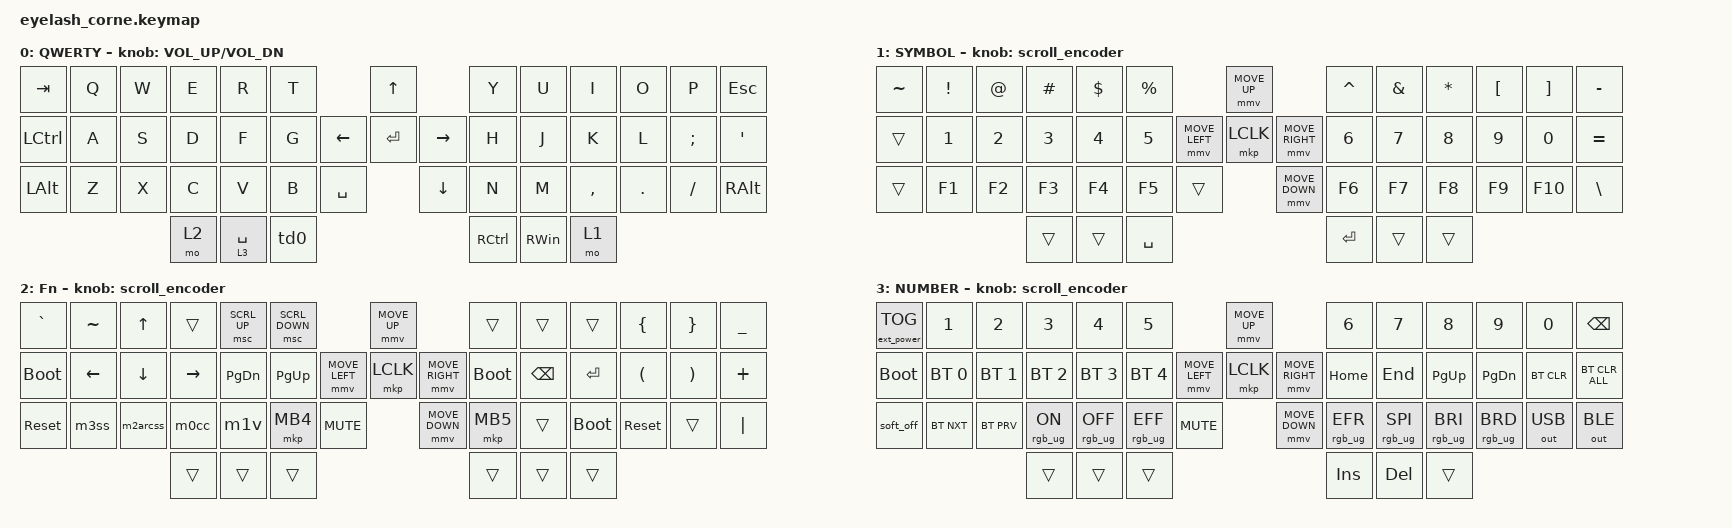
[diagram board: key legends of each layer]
#define ZMK_POINTING_DEFAULT_MOVE_VAL 1200  // 600
#define ZMK_POINTING_DEFAULT_SCRL_VAL 25   // 10

#include <input/processors.dtsi>
#include <zephyr/dt-bindings/input/input-event-codes.h>
#include <behaviors.dtsi>
#include <dt-bindings/zmk/bt.h>
#include <dt-bindings/zmk/ext_power.h>
#include <dt-bindings/zmk/keys.h>
#include <dt-bindings/zmk/outputs.h>
#include <dt-bindings/zmk/pointing.h>
#include <dt-bindings/zmk/rgb.h>

&mmv_input_listener { input-processors = <&zip_xy_scaler 2 1>; };

&msc_input_listener { input-processors = <&zip_scroll_scaler 2 1>; };

&msc {
    acceleration-exponent = <1>;      // 0
    time-to-max-speed-ms = <100>;       // 300
    delay-ms = <0>;                   // 0
};

&mmv {
    time-to-max-speed-ms = <500>;
    acceleration-exponent = <1>;
    trigger-period-ms = <16>;
};

&soft_off { hold-time-ms = <2000>; };

/ {
    behaviors {
        td0: td0 {
            compatible = "zmk,behavior-tap-dance";
            display-name = "Shift/Caps Lock Tap Dance";
            #binding-cells = <0>;
            bindings = <&kp LEFT_SHIFT>, <&kp CAPS>;
        };
    };

    rgb_encoder: rgb_encoder {
        compatible = "zmk,behavior-sensor-rotate";
        #sensor-binding-cells = <0>;
        bindings = <&rgb_ug RGB_BRI>, <&rgb_ug RGB_BRD>;
    };

    scroll_encoder: scroll_encoder {
        compatible = "zmk,behavior-sensor-rotate";
        #sensor-binding-cells = <0>;
        bindings = <&msc SCRL_DOWN>, <&msc SCRL_UP>;

        tap-ms = <100>;
    };

    combos {
        compatible = "zmk,combos";

        softoff {
            bindings = <&soft_off>;
            key-positions = <1 29 15 15>;
        };
    };

    macros {
        m0cc: m0cc {
            compatible = "zmk,behavior-macro";
            #binding-cells = <0>;
            bindings =
                <&macro_press>,
                <&kp RIGHT_COMMAND>,
                <&macro_tap>,
                <&kp C>,
                <&macro_release>,
                <&kp RIGHT_WIN>;

            label = "M0CC";
        };

        m1v: m1v {
            compatible = "zmk,behavior-macro";
            #binding-cells = <0>;
            bindings =
                <&macro_press>,
                <&kp LEFT_COMMAND>,
                <&macro_tap>,
                <&kp V>,
                <&macro_release>,
                <&kp LEFT_COMMAND>;

            label = "M1V";
        };

        m2arcss: m2arcss {
            compatible = "zmk,behavior-macro";
            #binding-cells = <0>;
            bindings =
                <&macro_press>,
                <&kp RIGHT_WIN &kp LEFT_SHIFT>,
                <&macro_tap>,
                <&kp NUMBER_2>,
                <&macro_release>,
                <&kp RIGHT_WIN &kp LEFT_SHIFT>;

            label = "M2ARCSS";
        };

        m3ss: m3ss {
            compatible = "zmk,behavior-macro";
            #binding-cells = <0>;
            bindings =
                <&macro_press>,
                <&kp LEFT_SHIFT &kp RIGHT_COMMAND>,
                <&macro_tap>,
                <&kp KP_NUMBER_3>,
                <&macro_release>,
                <&kp LEFT_SHIFT &kp RIGHT_COMMAND>;

            label = "M3SS";
        };
    };

    keymap {
        compatible = "zmk,keymap";

        default_layer {
            display-name = "QWERTY";
            bindings = <
&kp TAB           &kp Q  &kp W  &kp E  &kp R        &kp T                         &kp UP                &kp Y              &kp U          &kp I      &kp O    &kp P     &kp ESC
&kp LEFT_CONTROL  &kp A  &kp S  &kp D  &kp F        &kp G               &kp LEFT  &kp ENTER  &kp RIGHT  &kp H              &kp J          &kp K      &kp L    &kp SEMI  &kp SQT
&kp LEFT_ALT      &kp Z  &kp X  &kp C  &kp V        &kp B  &kp SPACE              &kp DOWN              &kp N              &kp M          &kp COMMA  &kp DOT  &kp FSLH  &kp RIGHT_ALT
                                &mo 2  &lt 3 SPACE  &td0                                                &kp RIGHT_CONTROL  &kp RIGHT_WIN  &mo 1
            >;

            sensor-bindings = <&inc_dec_kp C_VOLUME_UP C_VOL_DN>;
        };

        raise_layer {
            display-name = "SYMBOL";
            bindings = <
&kp TILDE  &kp EXCL      &kp AT        &kp HASH      &kp DLLR      &kp PRCNT                               &mmv MOVE_UP                     &kp CARET     &kp AMPS      &kp ASTRK     &kp LEFT_BRACKET  &kp RIGHT_BRACKET  &kp MINUS
&trans     &kp NUMBER_1  &kp NUMBER_2  &kp NUMBER_3  &kp NUMBER_4  &kp NUMBER_5            &mmv MOVE_LEFT  &mkp LCLK       &mmv MOVE_RIGHT  &kp NUMBER_6  &kp NUMBER_7  &kp NUMBER_8  &kp NUMBER_9      &kp NUMBER_0       &kp EQUAL
&trans     &kp F1        &kp F2        &kp F3        &kp F4        &kp F5        &trans                    &mmv MOVE_DOWN                   &kp F6        &kp F7        &kp F8        &kp F9            &kp F10            &kp BACKSLASH
                                       &trans        &trans        &kp SPACE                                                                &kp RET       &trans        &trans
            >;

            sensor-bindings = <&scroll_encoder>;
        };

        layer_2 {
            display-name = "Fn";
            bindings = <
&kp GRAVE    &kp TILDE  &kp UP_ARROW    &trans     &msc SCRL_UP   &msc SCRL_DOWN                                &mmv MOVE_UP                     &trans       &trans         &trans       &kp LEFT_BRACE        &kp RIGHT_BRACE        &kp UNDERSCORE
&bootloader  &kp LEFT   &kp DOWN_ARROW  &kp RIGHT  &kp PAGE_DOWN  &kp PAGE_UP                   &mmv MOVE_LEFT  &mkp LCLK       &mmv MOVE_RIGHT  &bootloader  &kp BACKSPACE  &kp ENTER    &kp LEFT_PARENTHESIS  &kp RIGHT_PARENTHESIS  &kp PLUS
&sys_reset   &m3ss      &m2arcss        &m0cc      &m1v           &mkp MB4        &kp C_MUTE                    &mmv MOVE_DOWN                   &mkp MB5     &trans         &bootloader  &sys_reset            &trans                 &kp PIPE
                                        &trans     &trans         &trans                                                                         &trans       &trans         &trans
            >;

            sensor-bindings = <&scroll_encoder>;
        };

        layer3 {
            display-name = "NUMBER";
            bindings = <
&ext_power EP_TOG  &kp N1        &kp N2        &kp N3          &kp N4           &kp N5                                         &mmv MOVE_UP                     &kp N6           &kp N7           &kp N8           &kp N9           &kp N0        &kp BSPC
&bootloader        &bt BT_SEL 0  &bt BT_SEL 1  &bt BT_SEL 2    &bt BT_SEL 3     &bt BT_SEL 4                   &mmv MOVE_LEFT  &mkp LCLK       &mmv MOVE_RIGHT  &kp HOME         &kp END          &kp PAGE_UP      &kp PAGE_DOWN    &bt BT_CLR    &bt BT_CLR_ALL
&soft_off          &bt BT_NXT    &bt BT_PRV    &rgb_ug RGB_ON  &rgb_ug RGB_OFF  &rgb_ug RGB_EFF  &kp C_MUTE                    &mmv MOVE_DOWN                   &rgb_ug RGB_EFR  &rgb_ug RGB_SPI  &rgb_ug RGB_BRI  &rgb_ug RGB_BRD  &out OUT_USB  &out OUT_BLE
                                               &trans          &trans           &trans                                                                          &kp INS          &kp DEL          &trans
            >;

            sensor-bindings = <&scroll_encoder>;
        };
    };
};
